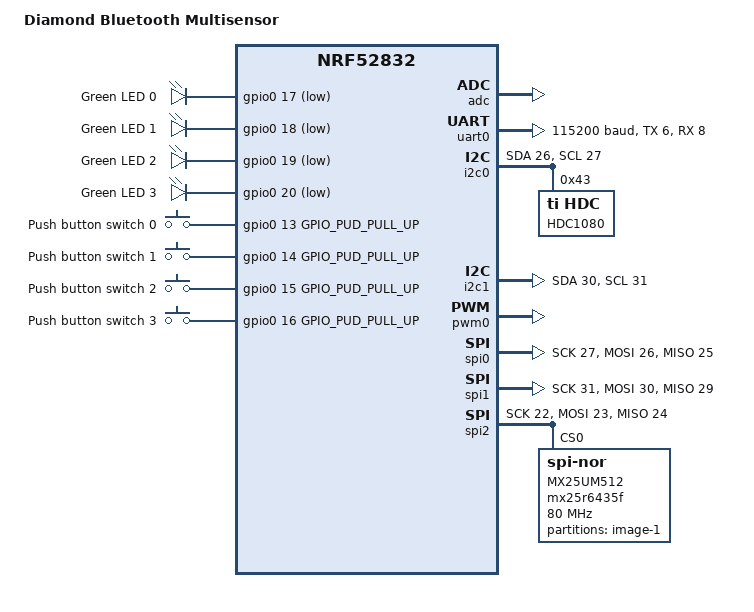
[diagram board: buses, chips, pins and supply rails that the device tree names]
/*
 * Copyright (c) 2017 Shawn Nock <shawn@monadnock.ca>
 * Copyright (c) 2017 Linaro Limited
 *
 * SPDX-License-Identifier: Apache-2.0
 */

/dts-v1/;
#include <nordic/nrf52832_qfaa.dtsi>

/ {
	model = "Diamond Bluetooth Multisensor";
	compatible = "nordic,pca10040-dk", "nordic,nrf52832-qfaa",
		     "nordic,nrf52832";

	chosen {
		zephyr,console = &uart0;
		zephyr,shell-uart = &uart0;
		zephyr,uart-mcumgr = &uart0;
		zephyr,bt-mon-uart = &uart0;
		zephyr,bt-c2h-uart = &uart0;
		zephyr,sram = &sram0;
		zephyr,flash = &flash0;
		zephyr,code-partition = &slot0_partition;
	};

	leds {
		compatible = "gpio-leds";
		led0: led_0 {
			gpios = <&gpio0 17 GPIO_INT_ACTIVE_LOW>;
			label = "Green LED 0";
		};
		led1: led_1 {
			gpios = <&gpio0 18 GPIO_INT_ACTIVE_LOW>;
			label = "Green LED 1";
		};
		led2: led_2 {
			gpios = <&gpio0 19 GPIO_INT_ACTIVE_LOW>;
			label = "Green LED 2";
		};
		led3: led_3 {
			gpios = <&gpio0 20 GPIO_INT_ACTIVE_LOW>;
			label = "Green LED 3";
		};
	};

	buttons {
		compatible = "gpio-keys";
		button0: button_0 {
			gpios = <&gpio0 13 GPIO_PUD_PULL_UP>;
			label = "Push button switch 0";
		};
		button1: button_1 {
			gpios = <&gpio0 14 GPIO_PUD_PULL_UP>;
			label = "Push button switch 1";
		};
		button2: button_2 {
			gpios = <&gpio0 15 GPIO_PUD_PULL_UP>;
			label = "Push button switch 2";
		};
		button3: button_3 {
			gpios = <&gpio0 16 GPIO_PUD_PULL_UP>;
			label = "Push button switch 3";
		};
	};

	/* These aliases are provided for compatibility with samples */
	aliases {
		led0 = &led0;
		led1 = &led1;
		led2 = &led2;
		led3 = &led3;
		sw0 = &button0;
		sw1 = &button1;
		sw2 = &button2;
		sw3 = &button3;
	};
};

&adc {
	status = "okay";
};

&gpiote {
	status = "okay";
};

&gpio0 {
	status = "okay";
};

&uart0 {
	status = "okay";
	compatible = "nordic,nrf-uart";
	current-speed = <115200>;
	tx-pin = <6>;
	rx-pin = <8>;
	rts-pin = <5>;
	cts-pin = <7>;
};

&i2c0 {
	status = "okay";
	sda-pin = <26>;
	scl-pin = <27>;

	ti_hdc: ti_hdc@43 {
		compatible = "ti,hdc","ti,hdc1080";
		reg = <0x43>;
		label = "HDC1080";
	};
};

&i2c1 {
	/* Cannot be used together with spi1. */
	/* status = "okay"; */
	sda-pin = <30>;
	scl-pin = <31>;
};

&pwm0 {
	status = "okay";
	ch0-pin = <17>;
	ch0-inverted;
};

&spi0 {
	/* Cannot be used together with i2c0. */
	/* status = "okay"; */
	sck-pin = <27>;
	mosi-pin = <26>;
	miso-pin = <25>;
};

&spi1 {
	status = "okay";
	sck-pin = <31>;
	mosi-pin = <30>;
	miso-pin = <29>;
};

&spi2 {
	status = "okay";
	cs-pin = <20>;
	sck-pin = <22>;
	mosi-pin = <23>;
	miso-pin = <24>;

	label="SPI_NOR_DRV_NAME";

	flash1: mx25r6435f@0 {
		compatible = "jedec,spi-nor";
		reg = <0>;
		spi-max-frequency = <80000000>;
		label = "MX25UM512";
		jedec-id = <0xc2 0x28 0x17>;
		size = <67108864>;
		erase-block-size = <4096>;
		write-block-size = <4>;
	};
};

&flash1 {
        partitions {
		compatible = "fixed-partitions";
		#address-cells = <1>;
		#size-cells = <1>;

		slot1_partition: partition@0 {
			label = "image-1";
			reg = <0x00000000 0x000064000>;
		};
        };
};

&flash0 {
	/*
	 * For more information, see:
	 * http://docs.zephyrproject.org/latest/guides/dts/index.html#flash-partitions
	 */
	partitions {
		compatible = "fixed-partitions";
		#address-cells = <1>;
		#size-cells = <1>;

		boot_partition: partition@0 {
			label = "mcuboot";
			reg = <0x00000000 0xc000>;
		};
		slot0_partition: partition@c000 {
			label = "image-0";
			reg = <0x0000C000 0x64000>;
		};
		scratch_partition: partition@70000 {
			label = "image-scratch";
			reg = <0x00070000 0xa000>;
		};
		storage_partition: partition@7a000 {
			label = "storage";
			reg = <0x0007a000 0x00006000>;
		};
	};
};
